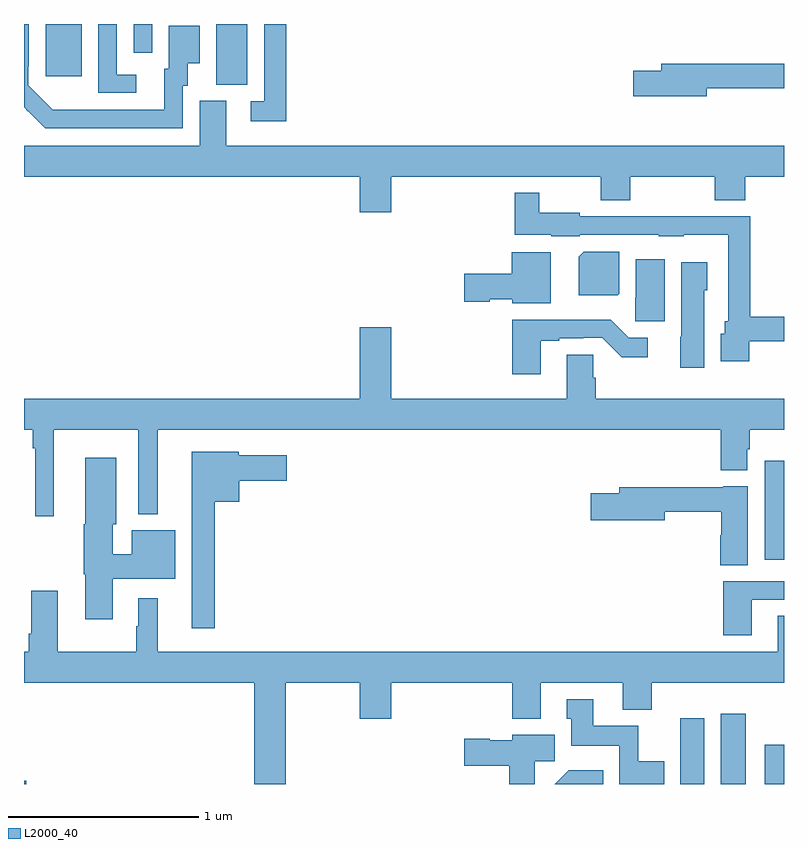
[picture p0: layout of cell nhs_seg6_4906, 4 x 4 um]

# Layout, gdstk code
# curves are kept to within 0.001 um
import gdstk
lib = gdstk.Library(unit=1e-6, precision=1e-09)
def R(c, l, rs):  # rectangles x0, y0, x1, y1
    for r in rs: c.add(gdstk.rectangle(r[:2], r[2:], *l))
def P(c, l, *ps):  # polygons
    for p in ps: c.add(gdstk.Polygon(p, *l))
L2000_40 = (2000, 40)

nhs_seg6_4906 = lib.new_cell('nhs_seg6_4906')
R(nhs_seg6_4906, L2000_40, [(403,917.5,403.012,917.516), (406.454,917.5,406.579,917.845), (406.667,917.5,406.798,917.869), (406.898,917.5,407,917.707), (406.898,918.68,407,919.201), (404.012,921.181,404.176,921.5), (403.115,921.225,403.303,921.499), (403.578,921.348,403.674,921.5)])
P(nhs_seg6_4906, L2000_40, [(404.381,921.5),(404.265,921.5),(404.265,921.093),(404.193,921.093),(404.193,920.988),(404.381,920.988)],
  [(403.591,921.234),(403.488,921.234),(403.488,921.5),(403.392,921.5),(403.392,921.138),(403.591,921.138)],
  [(403.836,921.174),(403.861,921.174),(403.861,921.293),(403.924,921.293),(403.924,921.49),(403.763,921.49),(403.763,921.264),(403.739,921.264),(403.739,921.048),(403.152,921.049),(403.023,921.177),(403.023,921.277),(403.026,921.277),(403.026,921.5),(403,921.5),(403,921.062),(403.02,921.042),(403.021,921.043),(403.112,920.952),(403.836,920.952)],
  [(406.594,921.162),(407,921.162),(407,921.29),(406.355,921.29),(406.355,921.254),(406.206,921.254),(406.206,921.119),(406.594,921.119)],
  [(404.932,920.696),(406.036,920.696),(406.036,920.572),(406.191,920.572),(406.191,920.696),(406.636,920.696),(406.636,920.572),(406.796,920.572),(406.796,920.696),(407,920.696),(407,920.86),(404.065,920.86),(404.065,921.096),(403.925,921.096),(403.925,920.86),(403,920.86),(403,920.696),(404.768,920.696),(404.768,920.508),(404.932,920.508)],
  [(406.817,919.83),(407,919.83),(407,919.958),(406.823,919.958),(406.823,920.487),(406.573,920.487),(406.573,920.489),(406.341,920.489),(406.341,920.487),(405.924,920.487),(405.924,920.506),(405.712,920.506),(405.712,920.611),(405.583,920.611),(405.583,920.39),(405.774,920.39),(405.774,920.384),(405.924,920.384),(405.924,920.391),(406.341,920.391),(406.341,920.384),(406.473,920.384),(406.473,920.39),(406.707,920.39),(406.707,919.935),(406.688,919.935),(406.688,919.869),(406.667,919.869),(406.667,919.725),(406.817,919.725)],
  [(406.132,920.08),(406.132,920.302),(405.946,920.302),(405.92,920.276),(405.92,920.072),(406.124,920.072)],
  [(405.772,920.3),(405.566,920.3),(405.566,920.186),(405.318,920.186),(405.318,920.039),(405.45,920.039),(405.45,920.051),(405.57,920.051),(405.57,920.03),(405.772,920.03)],
  [(406.372,920.263),(406.22,920.263),(406.22,920.058),(406.216,920.058),(406.216,919.935),(406.372,919.935)],
  [(406.579,920.1),(406.597,920.1),(406.597,920.245),(406.46,920.245),(406.46,919.854),(406.454,919.854),(406.454,919.692),(406.579,919.692)],
  [(405.721,919.833),(405.817,919.833),(405.817,919.845),(405.944,919.845),(405.944,919.848),(406.044,919.848),(406.147,919.746),(406.282,919.746),(406.282,919.848),(406.182,919.848),(406.087,919.943),(405.569,919.943),(405.569,919.656),(405.721,919.656)],
  [(403.156,919.364),(403.601,919.364),(403.601,918.92),(403.705,918.92),(403.705,919.364),(406.667,919.364),(406.667,919.151),(406.807,919.151),(406.807,919.263),(406.82,919.263),(406.82,919.364),(407,919.364),(407,919.528),(406.01,919.528),(406.01,919.638),(405.996,919.638),(405.996,919.76),(405.857,919.76),(405.857,919.528),(404.932,919.528),(404.932,919.903),(404.768,919.903),(404.768,919.528),(403,919.528),(403,919.364),(403.046,919.364),(403.046,919.268),(403.059,919.268),(403.059,918.909),(403.156,918.909)],
  [(404.005,918.986),(404.134,918.986),(404.134,919.097),(404.383,919.097),(404.383,919.231),(404.13,919.231),(404.13,919.249),(403.883,919.249),(403.883,918.321),(404.005,918.321)],
  [(403.468,918.581),(403.795,918.581),(403.795,918.835),(403.568,918.835),(403.568,918.709),(403.468,918.709),(403.468,918.867),(403.486,918.867),(403.486,919.216),(403.322,919.216),(403.322,918.867),(403.315,918.867),(403.315,918.605),(403.322,918.605),(403.322,918.366),(403.468,918.366)],
  [(406.81,919.066),(406.68,919.066),(406.68,919.063),(406.133,919.063),(406.133,919.029),(405.984,919.029),(405.984,918.887),(406.372,918.887),(406.372,918.934),(406.669,918.934),(406.669,918.809),(406.664,918.809),(406.664,918.652),(406.81,918.652)],
  [(406.831,918.471),(407,918.471),(407,918.567),(406.679,918.567),(406.679,918.282),(406.831,918.282)],
  [(403.705,918.478),(403.601,918.478),(403.601,918.329),(403.591,918.329),(403.591,918.196),(403.177,918.196),(403.177,918.517),(403.037,918.517),(403.037,918.292),(403.025,918.292),(403.025,918.196),(403,918.196),(403,918.032),(404.213,918.032),(404.213,917.5),(404.377,917.5),(404.377,918.032),(404.768,918.032),(404.768,917.844),(404.932,917.844),(404.932,918.032),(405.569,918.032),(405.569,917.843),(405.721,917.843),(405.721,918.032),(406.151,918.032),(406.151,917.891),(406.304,917.891),(406.304,918.032),(407,918.032),(407,918.386),(406.967,918.386),(406.967,918.196),(403.705,918.196)],
  [(406.369,917.62),(406.233,917.62),(406.233,917.806),(405.997,917.806),(405.997,917.947),(405.857,917.947),(405.857,917.844),(405.881,917.844),(405.881,917.702),(406.134,917.702),(406.134,917.5),(406.369,917.5)],
  [(405.688,917.62),(405.793,917.62),(405.793,917.758),(405.57,917.758),(405.57,917.731),(405.45,917.731),(405.45,917.739),(405.318,917.739),(405.318,917.597),(405.554,917.597),(405.554,917.5),(405.688,917.5)],
  [(406.049,917.572),(405.866,917.572),(405.794,917.5),(406.049,917.5)])

lib.write_gds('nhs_seg6_4906.gds')
